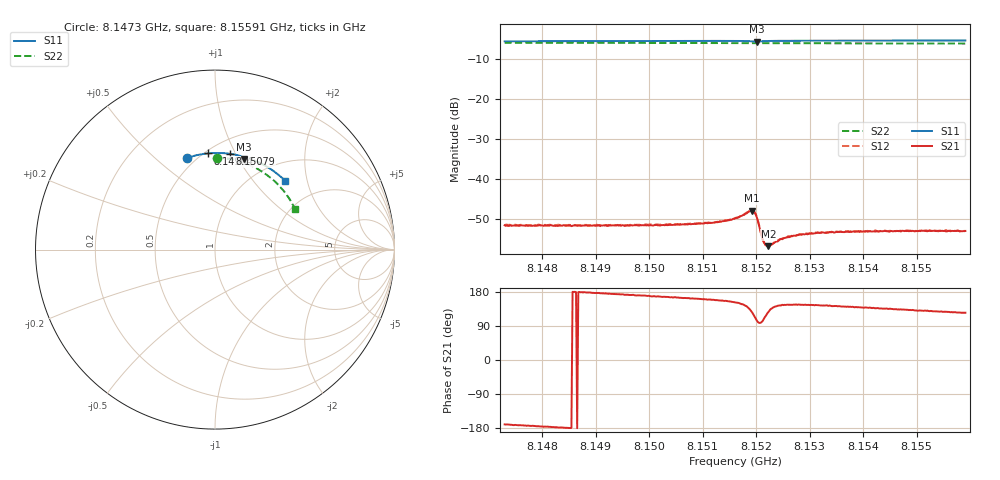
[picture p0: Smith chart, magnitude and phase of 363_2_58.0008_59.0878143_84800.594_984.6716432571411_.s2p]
#  HZ  S  RI  R  50.00
! Rohde & Schwarz Vector Network Analyzer
! Rohde-Schwarz,ZNB20-2Port,1311601062101988,3.16
! Created: UTC 3/21/2024, 1:06:36 AM
! freq[Hz]  re:S11  im:S11  re:S21  im:S21  re:S12  im:S12  re:S22  im:S22
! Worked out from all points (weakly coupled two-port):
!   401 points, 8.1473 GHz to 8.15591 GHz, reference 50 ohm
!   highest |S21| = -47.92 dB at 8.15193 GHz (marker M1); lowest = -56.8 dB at 8.15223 GHz (marker M2)
!   lowest |S11| = -5.5 dB at 8.15202 GHz (marker M3), VSWR 3.25, Z = 37.4 + j52.5 ohm
!   |S11| at or under -10 dB: nowhere
!   |S22| runs from -6.0 to -5.8 dB; largest |S21 - S12| = 0.00013
!   S11 on the Smith chart (normalised r, x): 8.1473 GHz: 0.45, +0.64; 8.14904 GHz: 0.52, +0.78; 8.15079 GHz: 0.63, +0.95; 8.15591 GHz: 1.36, +1.48
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8.147301e9  -0.1578 0.5103  -0.00261 -0.000461  -0.00262 -0.000403  0.00915 0.513
8.148743e9  -0.06 0.5334  -0.00261 3.98e-05  -0.00263 8.73e-05  0.1024 0.501
8.149045e9  -0.0391 0.5359  -0.00262 0.000158  -0.00265 0.000212  0.1212 0.4964
8.150186e9  0.0404 0.5378  -0.00258 0.000564  -0.00261 0.000632  0.1909 0.4724
8.150789e9  0.0822 0.5338  -0.0026 0.00083  -0.00264 0.00089  0.2257 0.4557
8.151263e9  0.1155 0.5283  -0.00268 0.00109  -0.00268 0.00116  0.2522 0.4408
8.151607e9  0.14 0.5221  -0.00284 0.00151  -0.00284 0.00157  0.2708 0.429
8.151887e9  0.1596 0.5111  -0.00272 0.0029  -0.00272 0.00296  0.2853 0.4186
8.15193e9  0.161 0.508  -0.0023 0.00329  -0.00229 0.00335  0.2873 0.417
8.151973e9  0.1606 0.5057  -0.00158 0.00348  -0.00154 0.00356  0.2895 0.4153
8.152016e9  0.1594 0.5053  -0.000784 0.00321  -0.000744 0.00325  0.2916 0.4138
8.152102e9  0.1617 0.5092  -0.000333 0.00195  -0.000286 0.00196  0.2959 0.4107
8.152145e9  0.165 0.5106  -0.00051 0.00155  -0.000482 0.00157  0.2981 0.4091
8.152189e9  0.1685 0.511  -0.00068 0.00131  -0.000689 0.00129  0.3002 0.4075
8.152232e9  0.1724 0.511  -0.000862 0.00116  -0.000889 0.00118  0.3025 0.4059
8.15249e9  0.1918 0.5068  -0.00146 0.000996  -0.00147 0.00106  0.3155 0.3956
8.152576e9  0.1977 0.505  -0.00155 0.00105  -0.00153 0.00108  0.3195 0.392
8.152834e9  0.2153 0.4985  -0.00168 0.00113  -0.00168 0.00115  0.3318 0.3812
8.15305e9  0.2292 0.4927  -0.00171 0.0012  -0.00171 0.00124  0.3416 0.3719
8.153545e9  0.2605 0.478  -0.00172 0.00135  -0.00168 0.00138  0.3635 0.3494
8.154492e9  0.3168 0.4443  -0.00156 0.00154  -0.00158 0.00162  0.4007 0.3032
8.155914e9  0.3922 0.3821  -0.00128 0.00185  -0.00124 0.00188  0.4454 0.227
